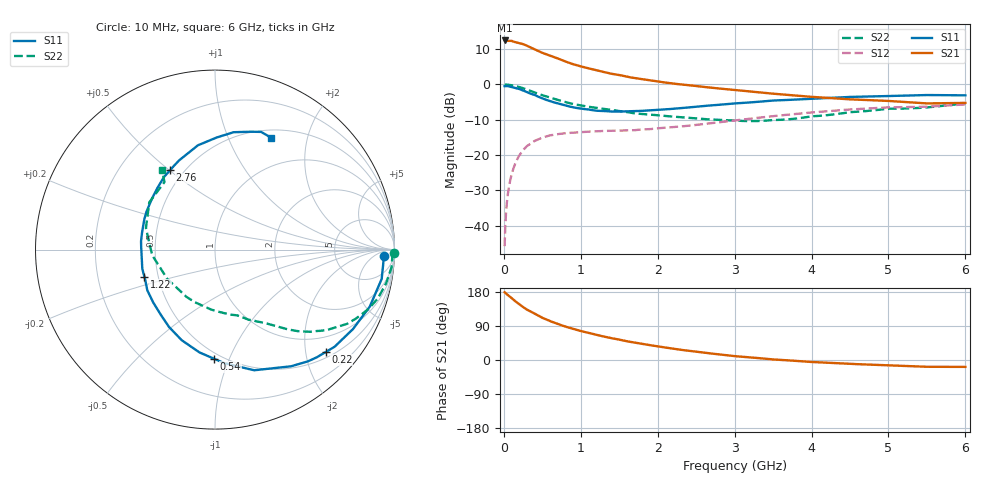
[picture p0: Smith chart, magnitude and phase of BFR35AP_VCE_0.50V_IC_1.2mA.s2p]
! Infineon Technologies  Discrete & RF Semiconductors
! BFR35AP
! VCE = 0.50 V,  IC =  1.2 mA
! Common Emitter S-Parameters:  Nov 2015
# GHz  S  MA  R  50
!  f  S11  S21  S12  S22
! GHz  MAG  ANG  MAG  ANG  MAG  ANG  MAG  ANG
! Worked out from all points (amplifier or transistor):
!   210 points, 10 MHz to 6 GHz, reference 50 ohm
!   highest |S21| = 12.4 dB at 10 MHz (marker M1)
!   |S21| within 3 dB of that: start of sweep to 448.6 MHz
!   unconditionally stable (mu >= 1): 1.211 GHz to end of sweep
!   at 185 MHz: K = 0.19, MSG = 16.2 dB, |S12| = -20.8 dB
!   at 1.52 GHz: K = 1.17, MAG = 5.3 dB, |S12| = -13.1 dB
!   at 6 GHz: K = 1.12, MAG = -1.9 dB, |S12| = -5.7 dB
!   S11 on the Smith chart (normalised r, x): 10 MHz: 24, -15; 220 MHz: 0.62, -2.41; 540 MHz: 0.46, -0.88; 1.22 GHz: 0.42, -0.16; 2.76 GHz: 0.42, +0.50; 6 GHz: 0.60, +1.45
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0.01  0.9414 -2.1  4.175 178.7  0.0051 87.8  0.9967 -1.1
0.02  0.9409 -4.1  4.135 176.6  0.0104 85.6  0.9889 -2.3
0.03  0.9405 -6.1  4.128 175.0  0.0159 84.3  0.9884 -3.4
0.065  0.9327 -13.0  4.115 169.3  0.0346 80.8  0.9826 -7.3
0.1  0.919 -20.2  4.123 163.6  0.0526 77.9  0.972 -11.1
0.15  0.8873 -29.9  3.948 154.8  0.0765 70.9  0.9472 -16.7
0.22  0.84 -42.8  3.774 144.3  0.1054 63.3  0.9011 -22.9
0.3  0.7761 -56.9  3.524 133.0  0.1332 56.0  0.8434 -29.4
0.4  0.7069 -72.0  3.134 122.1  0.1576 48.1  0.7656 -35.9
0.5  0.6339 -85.5  2.793 111.4  0.1756 42.0  0.7006 -40.8
0.54  0.6083 -90.5  2.689 108.1  0.1809 40.0  0.6794 -42.2
0.6  0.5793 -98.6  2.551 102.6  0.1892 37.3  0.6485 -44.5
0.74  0.5211 -114.2  2.232 92.3  0.1992 32.4  0.5839 -48.7
1.02  0.4496 -141.2  1.769 75.5  0.211 26.6  0.4973 -55.5
1.22  0.4214 -158.8  1.564 65.5  0.2166 23.9  0.4603 -60.2
1.6  0.4147 173.6  1.28 49.4  0.223 23.5  0.4047 -68.5
2.02  0.4368 150.4  1.089 35.4  0.239 25.4  0.3626 -79.8
2.76  0.5087 119.5  0.88 15.7  0.2863 27.1  0.3149 -108.9
3.1  0.5438 109.3  0.811 8.6  0.3162 25.8  0.3028 -126.6
4.1  0.6312 87.4  0.653 -6.1  0.4068 17.5  0.3572 -179.9
5.1  0.6864 73.1  0.572 -14.9  0.4729 5.0  0.4513 140.7
6  0.6976 63.3  0.545 -18.2  0.5185 -4.1  0.5338 123.6
